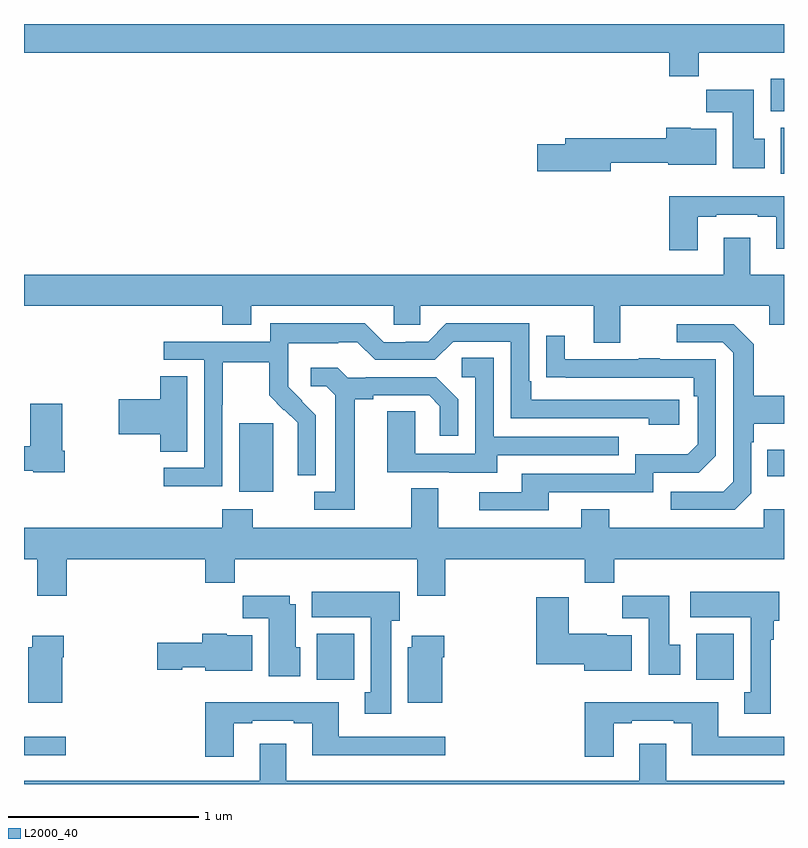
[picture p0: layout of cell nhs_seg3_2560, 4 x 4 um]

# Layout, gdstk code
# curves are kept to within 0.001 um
import gdstk
lib = gdstk.Library(unit=1e-6, precision=1e-09)
def R(c, l, rs):  # rectangles x0, y0, x1, y1
    for r in rs: c.add(gdstk.rectangle(r[:2], r[2:], *l))
def P(c, l, *ps):  # polygons
    for p in ps: c.add(gdstk.Polygon(p, *l))
L2000_40 = (2000, 40)

nhs_seg3_2560 = lib.new_cell('nhs_seg3_2560')
R(nhs_seg3_2560, L2000_40, [(243,698.552,243.22,698.649), (244.541,698.948,244.738,699.19), (246.539,698.948,246.736,699.19), (244.133,699.938,244.312,700.299), (246.913,700.019,247,700.159), (246.983,701.612,247,701.854), (246.929,701.942,247,702.112)])
P(nhs_seg3_2560, L2000_40, [(246.551,702.248),(247,702.248),(247,702.4),(243,702.4),(243,702.248),(246.395,702.248),(246.395,702.124),(246.551,702.124)],
  [(246.898,701.796),(246.841,701.796),(246.841,702.054),(246.592,702.054),(246.592,701.936),(246.731,701.936),(246.731,701.64),(246.898,701.64)],
  [(246.088,701.671),(246.392,701.671),(246.392,701.66),(246.643,701.66),(246.643,701.848),(246.51,701.848),(246.51,701.854),(246.38,701.854),(246.38,701.8),(245.849,701.8),(245.849,701.766),(245.7,701.766),(245.7,701.624),(246.088,701.624)],
  [(246.547,701.385),(246.643,701.385),(246.643,701.397),(246.863,701.397),(246.863,701.385),(246.959,701.385),(246.959,701.216),(247,701.216),(247,701.494),(246.395,701.494),(246.395,701.208),(246.547,701.208)],
  [(246.139,700.916),(246.923,700.916),(246.923,700.817),(247,700.817),(247,701.08),(246.823,701.08),(246.823,701.275),(246.683,701.275),(246.683,701.08),(243,701.08),(243,700.916),(244.043,700.916),(244.043,700.817),(244.195,700.817),(244.195,700.916),(244.947,700.916),(244.947,700.818),(245.085,700.818),(245.085,700.916),(245.999,700.916),(245.999,700.722),(246.139,700.722)],
  [(244.044,700.396),(244.047,700.396),(244.047,700.62),(244.291,700.62),(244.291,700.445),(244.368,700.368),(244.371,700.371),(244.442,700.301),(244.442,700.178),(244.44,700.178),(244.44,700.024),(244.536,700.024),(244.536,700.342),(244.39,700.49),(244.39,700.587),(244.392,700.587),(244.392,700.721),(244.655,700.721),(244.655,700.725),(244.755,700.725),(244.848,700.632),(245.163,700.632),(245.259,700.728),(245.562,700.728),(245.562,700.326),(246.287,700.326),(246.287,700.292),(246.448,700.292),(246.448,700.422),(245.671,700.422),(245.671,700.519),(245.658,700.519),(245.658,700.824),(245.223,700.824),(245.127,700.728),(245.009,700.728),(245.009,700.725),(244.893,700.725),(244.793,700.825),(244.296,700.825),(244.296,700.728),(243.735,700.728),(243.735,700.632),(243.948,700.632),(243.948,700.065),(243.735,700.065),(243.735,699.967),(244.044,699.967)],
  [(246.828,699.93),(246.828,700.199),(246.841,700.199),(246.841,700.295),(247,700.295),(247,700.443),(246.841,700.443),(246.841,700.715),(246.735,700.821),(246.435,700.821),(246.435,700.725),(246.678,700.725),(246.732,700.671),(246.732,699.99),(246.681,699.939),(246.405,699.939),(246.405,699.843),(246.741,699.843)],
  [(245.761,699.936),(246.312,699.936),(246.312,700.038),(246.552,700.038),(246.642,700.128),(246.642,700.635),(246.347,700.635),(246.347,700.64),(246.235,700.64),(246.235,700.635),(245.845,700.635),(245.845,700.759),(245.749,700.759),(245.749,700.54),(246.526,700.539),(246.526,700.442),(246.546,700.442),(246.546,700.188),(246.493,700.135),(246.216,700.135),(246.216,700.032),(245.621,700.032),(245.621,699.936),(245.397,699.936),(245.397,699.84),(245.761,699.84)],
  [(245.491,700.131),(246.131,700.131),(246.131,700.227),(245.472,700.227),(245.472,700.643),(245.304,700.643),(245.304,700.542),(245.376,700.542),(245.376,700.137),(245.058,700.137),(245.058,700.361),(244.913,700.361),(244.913,700.041),(245.237,700.041),(245.237,700.037),(245.491,700.037)],
  [(244.741,700.424),(244.837,700.424),(244.837,700.446),(245.132,700.446),(245.189,700.389),(245.189,700.233),(245.286,700.233),(245.286,700.426),(245.17,700.542),(244.798,700.542),(244.798,700.539),(244.704,700.539),(244.652,700.591),(244.509,700.591),(244.509,700.494),(244.59,700.494),(244.637,700.447),(244.637,699.939),(244.527,699.939),(244.527,699.843),(244.741,699.843)],
  [(243.859,700.547),(243.716,700.547),(243.716,700.424),(243.498,700.424),(243.498,700.241),(243.716,700.241),(243.716,700.15),(243.859,700.15)],
  [(243.215,700.153),(243.202,700.153),(243.202,700.402),(243.032,700.402),(243.032,700.178),(243,700.178),(243,700.05),(243.048,700.05),(243.048,700.042),(243.215,700.042)],
  [(243.224,699.584),(243.953,699.584),(243.953,699.46),(244.109,699.46),(244.109,699.584),(245.069,699.584),(245.069,699.39),(245.217,699.39),(245.217,699.584),(245.951,699.584),(245.951,699.46),(246.107,699.46),(246.107,699.584),(247,699.584),(247,699.847),(246.894,699.847),(246.894,699.748),(246.081,699.748),(246.081,699.847),(245.933,699.847),(245.933,699.748),(245.179,699.748),(245.179,699.956),(245.039,699.956),(245.039,699.748),(244.203,699.748),(244.203,699.847),(244.043,699.847),(244.043,699.748),(243,699.748),(243,699.584),(243.071,699.584),(243.071,699.39),(243.224,699.39)],
  [(244.933,699.258),(244.978,699.258),(244.978,699.412),(244.514,699.412),(244.514,699.278),(244.826,699.278),(244.826,698.882),(244.793,698.882),(244.793,698.769),(244.933,698.769)],
  [(246.931,699.158),(246.946,699.158),(246.946,699.258),(246.976,699.258),(246.976,699.412),(246.507,699.412),(246.507,699.278),(246.824,699.278),(246.824,698.882),(246.791,698.882),(246.791,698.769),(246.931,698.769)],
  [(246.454,699.132),(246.397,699.132),(246.397,699.391),(246.148,699.391),(246.148,699.272),(246.287,699.272),(246.287,698.976),(246.454,698.976)],
  [(244.453,699.12),(244.429,699.12),(244.429,699.346),(244.399,699.346),(244.399,699.391),(244.15,699.391),(244.15,699.272),(244.289,699.272),(244.289,698.966),(244.453,698.966)],
  [(246.199,699.184),(246.066,699.184),(246.066,699.19),(245.866,699.19),(245.866,699.382),(245.696,699.382),(245.696,699.029),(245.948,699.029),(245.948,698.996),(246.199,698.996)],
  [(244.201,699.184),(244.068,699.184),(244.068,699.19),(243.938,699.19),(243.938,699.144),(243.702,699.144),(243.702,699.002),(243.834,699.002),(243.834,699.014),(243.954,699.014),(243.954,698.996),(244.201,698.996)],
  [(245.2,699.068),(245.213,699.068),(245.213,699.181),(245.042,699.181),(245.042,699.12),(245.021,699.12),(245.021,698.828),(245.2,698.828)],
  [(243.202,699.068),(243.21,699.068),(243.21,699.181),(243.044,699.181),(243.044,699.12),(243.023,699.12),(243.023,698.828),(243.202,698.828)],
  [(246.103,698.721),(246.199,698.721),(246.199,698.733),(246.419,698.733),(246.419,698.721),(246.515,698.721),(246.515,698.552),(247,698.552),(247,698.649),(246.655,698.649),(246.655,698.83),(245.951,698.83),(245.951,698.544),(246.103,698.544)],
  [(244.105,698.721),(244.201,698.721),(244.201,698.733),(244.421,698.733),(244.421,698.721),(244.517,698.721),(244.517,698.552),(245.218,698.552),(245.218,698.649),(244.657,698.649),(244.657,698.83),(243.953,698.83),(243.953,698.544),(244.105,698.544)],
  [(247,698.416),(246.379,698.416),(246.379,698.611),(246.239,698.611),(246.239,698.416),(244.381,698.416),(244.381,698.611),(244.241,698.611),(244.241,698.416),(243,698.416),(243,698.4),(247,698.4)])

lib.write_gds('nhs_seg3_2560.gds')
